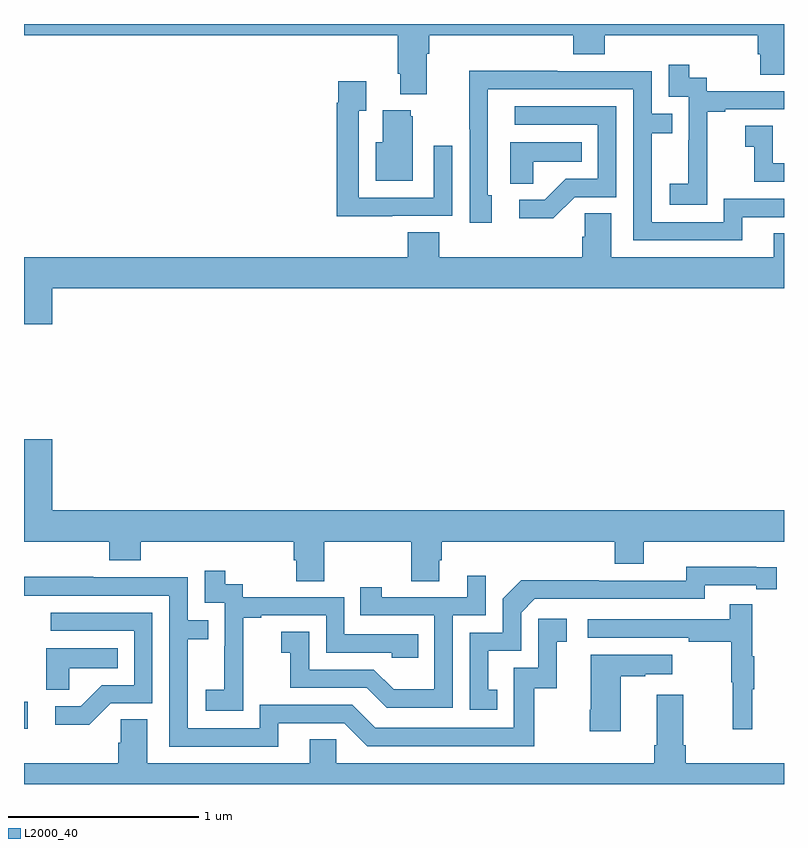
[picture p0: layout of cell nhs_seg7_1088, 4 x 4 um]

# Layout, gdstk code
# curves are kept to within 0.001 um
import gdstk
lib = gdstk.Library(unit=1e-6, precision=1e-09)
def R(c, l, rs):  # rectangles x0, y0, x1, y1
    for r in rs: c.add(gdstk.rectangle(r[:2], r[2:], *l))
def P(c, l, *ps):  # polygons
    for p in ps: c.add(gdstk.Polygon(p, *l))
L2000_40 = (2000, 40)

nhs_seg7_1088 = lib.new_cell('nhs_seg7_1088')
R(nhs_seg7_1088, L2000_40, [(189,1006.29,189.019,1006.434)])
P(nhs_seg7_1088, L2000_40, [(191.119,1009.844),(191.132,1009.844),(191.132,1009.94),(191.891,1009.94),(191.891,1009.841),(192.056,1009.841),(192.056,1009.94),(192.863,1009.94),(192.863,1009.842),(192.875,1009.842),(192.875,1009.732),(193,1009.732),(193,1010),(189,1010),(189,1009.94),(190.967,1009.94),(190.967,1009.738),(190.979,1009.738),(190.979,1009.631),(191.119,1009.631)],
  [(192.597,1009.255),(192.596,1009.255),(192.596,1009.539),(192.691,1009.539),(192.691,1009.551),(193,1009.551),(193,1009.647),(192.594,1009.647),(192.594,1009.716),(192.502,1009.716),(192.502,1009.786),(192.393,1009.786),(192.393,1009.617),(192.498,1009.617),(192.498,1009.388),(192.497,1009.388),(192.497,1009.159),(192.399,1009.159),(192.399,1009.049),(192.597,1009.049)],
  [(192.781,1008.984),(193,1008.984),(193,1009.08),(192.684,1009.08),(192.684,1008.957),(192.303,1008.957),(192.303,1009.426),(192.413,1009.426),(192.413,1009.527),(192.303,1009.527),(192.303,1009.752),(191.807,1009.752),(191.807,1009.754),(191.344,1009.754),(191.344,1009.447),(191.346,1009.447),(191.346,1008.954),(191.461,1008.954),(191.461,1009.098),(191.442,1009.098),(191.442,1009.656),(192.207,1009.656),(192.207,1008.861),(192.781,1008.861)],
  [(190.937,1008.99),(191.253,1008.99),(191.253,1009.36),(191.157,1009.36),(191.157,1009.086),(190.761,1009.086),(190.761,1009.543),(190.801,1009.543),(190.801,1009.699),(190.653,1009.699),(190.653,1009.586),(190.645,1009.586),(190.645,1008.989),(190.937,1008.989)],
  [(191.898,1009.089),(192.117,1009.089),(192.117,1009.566),(191.583,1009.566),(191.583,1009.47),(192.021,1009.47),(192.021,1009.185),(191.852,1009.185),(191.741,1009.074),(191.607,1009.074),(191.607,1008.977),(191.785,1008.977)],
  [(191.047,1009.515),(191.036,1009.515),(191.036,1009.546),(190.889,1009.546),(190.889,1009.378),(190.85,1009.378),(190.85,1009.175),(191.047,1009.175)],
  [(193,1009.266),(192.942,1009.266),(192.942,1009.465),(192.795,1009.465),(192.795,1009.355),(192.844,1009.355),(192.844,1009.17),(193,1009.17)],
  [(191.679,1009.274),(191.936,1009.274),(191.936,1009.378),(191.558,1009.378),(191.558,1009.159),(191.679,1009.159)],
  [(189.148,1008.608),(193,1008.608),(193,1008.899),(192.947,1008.899),(192.947,1008.772),(192.091,1008.772),(192.091,1009.004),(191.952,1009.004),(191.952,1008.881),(191.939,1008.881),(191.939,1008.772),(191.186,1008.772),(191.186,1008.905),(191.021,1008.905),(191.021,1008.772),(189,1008.772),(189,1008.42),(189.148,1008.42)],
  [(190.581,1007.276),(191.038,1007.276),(191.038,1007.068),(191.185,1007.068),(191.185,1007.178),(191.198,1007.178),(191.198,1007.276),(192.11,1007.276),(192.11,1007.159),(192.262,1007.159),(192.262,1007.276),(193,1007.276),(193,1007.44),(189.148,1007.44),(189.148,1007.815),(189,1007.815),(189,1007.276),(189.449,1007.276),(189.449,1007.177),(189.614,1007.177),(189.614,1007.276),(190.421,1007.276),(190.421,1007.178),(190.433,1007.178),(190.433,1007.068),(190.581,1007.068)],
  [(191.492,1006.497),(191.443,1006.497),(191.443,1006.701),(191.616,1006.701),(191.616,1006.902),(191.688,1006.974),(192.582,1006.974),(192.582,1007.046),(192.854,1007.046),(192.854,1007.026),(192.962,1007.026),(192.962,1007.142),(192.486,1007.143),(192.486,1007.07),(192.026,1007.07),(192.026,1007.072),(191.618,1007.072),(191.52,1006.974),(191.52,1006.797),(191.346,1006.797),(191.346,1006.392),(191.492,1006.392)],
  [(190.155,1006.591),(190.154,1006.591),(190.154,1006.875),(190.249,1006.875),(190.249,1006.887),(190.59,1006.887),(190.59,1006.692),(190.935,1006.692),(190.935,1006.665),(191.075,1006.665),(191.075,1006.788),(190.686,1006.788),(190.686,1006.983),(190.152,1006.983),(190.152,1007.052),(190.06,1007.052),(190.06,1007.122),(189.951,1007.122),(189.951,1006.953),(190.056,1006.953),(190.056,1006.724),(190.055,1006.724),(190.055,1006.495),(189.957,1006.495),(189.957,1006.385),(190.155,1006.385)],
  [(191.256,1006.887),(191.43,1006.887),(191.43,1007.095),(191.333,1007.095),(191.333,1006.983),(190.882,1006.983),(190.882,1007.035),(190.771,1007.035),(190.771,1006.887),(191.16,1006.887),(191.16,1006.498),(190.946,1006.498),(190.842,1006.602),(190.5,1006.602),(190.5,1006.801),(190.353,1006.801),(190.353,1006.691),(190.402,1006.691),(190.402,1006.506),(190.805,1006.506),(190.91,1006.401),(191.256,1006.401)],
  [(190.339,1006.32),(190.686,1006.32),(190.806,1006.2),(191.686,1006.2),(191.686,1006.503),(191.804,1006.503),(191.804,1006.749),(191.857,1006.749),(191.857,1006.87),(191.706,1006.87),(191.706,1006.611),(191.577,1006.611),(191.577,1006.296),(190.848,1006.296),(190.728,1006.416),(190.242,1006.416),(190.242,1006.293),(189.861,1006.293),(189.861,1006.762),(189.971,1006.762),(189.971,1006.863),(189.861,1006.863),(189.861,1007.088),(189.365,1007.088),(189.365,1007.09),(189,1007.09),(189,1006.992),(189.765,1006.992),(189.765,1006.197),(190.339,1006.197)],
  [(192.833,1006.499),(192.844,1006.499),(192.844,1006.673),(192.833,1006.673),(192.833,1006.945),(192.715,1006.945),(192.715,1006.866),(191.967,1006.866),(191.967,1006.77),(192.499,1006.77),(192.499,1006.75),(192.723,1006.75),(192.723,1006.536),(192.73,1006.536),(192.73,1006.287),(192.833,1006.287)],
  [(189.456,1006.425),(189.675,1006.425),(189.675,1006.902),(189.141,1006.902),(189.141,1006.806),(189.579,1006.806),(189.579,1006.521),(189.41,1006.521),(189.299,1006.41),(189.165,1006.41),(189.165,1006.313),(189.343,1006.313)],
  [(189.237,1006.61),(189.494,1006.61),(189.494,1006.714),(189.116,1006.714),(189.116,1006.495),(189.237,1006.495)],
  [(192.142,1006.567),(192.269,1006.567),(192.269,1006.577),(192.412,1006.577),(192.412,1006.681),(191.984,1006.681),(191.984,1006.39),(191.977,1006.39),(191.977,1006.278),(192.142,1006.278)],
  [(193,1006.108),(192.482,1006.108),(192.482,1006.204),(192.469,1006.204),(192.469,1006.471),(192.329,1006.471),(192.329,1006.204),(192.317,1006.204),(192.317,1006.108),(190.644,1006.108),(190.644,1006.235),(190.505,1006.235),(190.505,1006.108),(189.649,1006.108),(189.649,1006.34),(189.51,1006.34),(189.51,1006.217),(189.497,1006.217),(189.497,1006.108),(189,1006.108),(189,1006),(193,1006)])

lib.write_gds('nhs_seg7_1088.gds')
